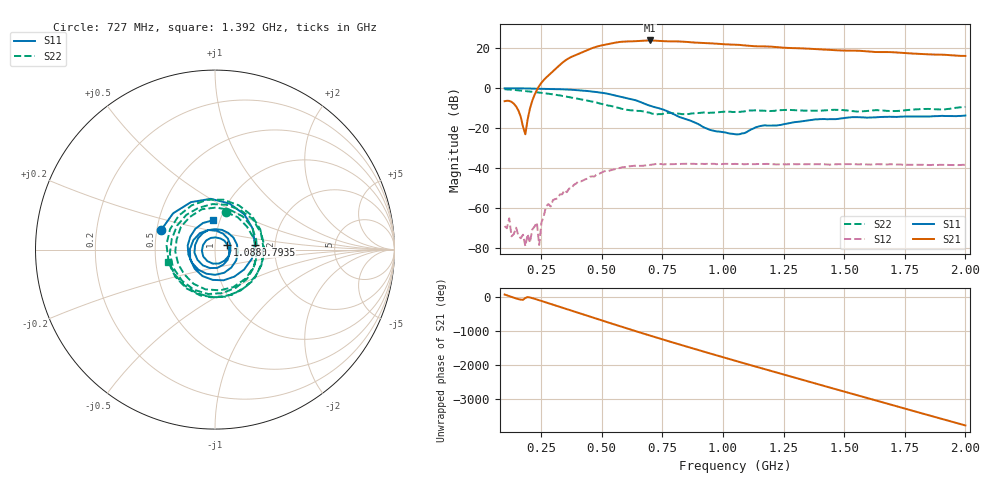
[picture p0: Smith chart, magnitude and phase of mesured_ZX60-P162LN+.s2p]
#  HZ  S  RI  R  50.00
! Rohde & Schwarz Vector Network Analyzer
! Rohde-Schwarz,ZNB8-4Port,REDACTED,3.12
! Created: UTC 3/23/2026, 6:27:21 PM
! zx60-P162LN+
! freq[Hz]  re:S11  im:S11  re:S21  im:S21  re:S12  im:S12  re:S22  im:S22
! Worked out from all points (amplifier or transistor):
!   201 points, 100 MHz to 2 GHz, reference 50 ohm
!   highest |S21| = 23.7 dB at 698.5 MHz (marker M1)
!   |S21| within 3 dB of that: 482.3 MHz to 1.184 GHz (701.4 MHz wide, 84.2 % of centre)
!   unconditionally stable (mu >= 1): start of sweep to end of sweep
!   at 413.5 MHz: K = 3.19, MAG = 24.2 dB, |S12| = -46.9 dB
!   at 1.05 GHz: K = 3.18, MAG = 21.9 dB, |S12| = -38.1 dB
!   at 2 GHz: K = 5.68, MAG = 16.7 dB, |S12| = -38.5 dB
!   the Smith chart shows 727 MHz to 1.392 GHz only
!   S11 on the Smith chart (normalised r, x): 727 MHz: 0.53, +0.13; 793.5 MHz: 1.57, +0.09; 1.088 GHz: 1.14, +0.06; 1.392 GHz: 0.92, +0.31
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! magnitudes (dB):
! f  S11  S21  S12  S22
! 100 MHz  -0.2  -6.7  -69.3  -0.7
! 119 MHz  -0.3  -6.5  -65.3  -0.8
! 128.5 MHz  -0.3  -7.0  -74.3  -0.9
! 147.5 MHz  -0.3  -9.3  -70.0  -1.1
! 185.5 MHz  -0.3  -23.2  -79.3  -1.6
! 195 MHz  -0.3  -15.8  -73.2  -1.7
! 204.5 MHz  -0.3  -10.3  -77.5  -1.9
! 233 MHz  -0.4  -1.1  -67.4  -2.2
! 242.5 MHz  -0.5  0.9  -78.7  -2.4
! 252 MHz  -0.5  2.6  -67.4  -2.5
! 271 MHz  -0.5  5.1  -59.3  -2.8
! 423 MHz  -1.4  17.9  -46.4  -5.9
! 698.5 MHz  -8.9  23.7  -38.6  -12.4
! 727 MHz  -9.9  23.6  -38.0  -13.3
! 736.5 MHz  -10.2  23.5  -38.1  -13.1
! 793.5 MHz  -13.0  23.3  -38.2  -12.7
! 1.05 GHz  -23.2  21.6  -38.1  -12.0
! 1.088 GHz  -22.7  21.3  -38.3  -11.8
! 1.373 GHz  -16.0  19.5  -38.3  -11.4
! 1.392 GHz  -15.8  19.4  -38.2  -11.4
! 1.687 GHz  -14.5  17.9  -38.3  -11.5
! 2 GHz  -13.8  16.0  -38.5  -9.5
